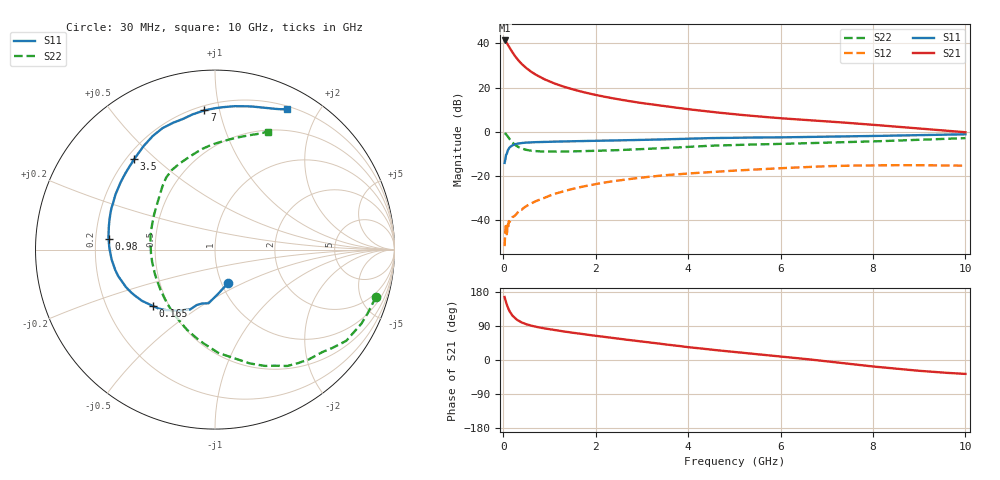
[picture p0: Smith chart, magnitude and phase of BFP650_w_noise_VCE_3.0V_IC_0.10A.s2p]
! Infineon Technologies  Discrete & RF Semiconductors
! BFP650
! VCE =  3.0 V,  IC = 0.10 A
! Common Emitter S-Parameters:  Jan 2016
# GHz  S  MA  R  50
!  f  S11  S21  S12  S22
! GHz  MAG  ANG  MAG  ANG  MAG  ANG  MAG  ANG
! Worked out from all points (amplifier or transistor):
!   229 points, 30 MHz to 10 GHz, reference 50 ohm
!   highest |S21| = 41.3 dB at 30 MHz (marker M1)
!   |S21| within 3 dB of that: start of sweep to 130.6 MHz
!   unconditionally stable (mu >= 1): 1.286 GHz to end of sweep
!   at 280 MHz: K = 0.65, MSG = 35.4 dB, |S12| = -37.3 dB
!   at 1.78 GHz: K = 1.02, MAG = 20.2 dB, |S12| = -24.5 dB
!   at 10 GHz: K = 1.03, MAG = 6.6 dB, |S12| = -15.3 dB
!   lowest NFmin = 1.42 dB at 450 MHz
!   S11 on the Smith chart (normalised r, x): 30 MHz: 1.08, -0.41; 165 MHz: 0.41, -0.33; 980 MHz: 0.25, +0.05; 3.5 GHz: 0.23, +0.43; 7 GHz: 0.23, +0.90; 10 GHz: 0.23, +1.61
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0.03  0.1985 -67.8  116.3 166.2  0.0026 46.1  0.9347 -16.4
0.04  0.2239 -79.3  114.9 161.4  0.0041 64.2  0.9213 -22.9
0.05  0.2456 -85.6  111 156.8  0.0072 102.9  0.9139 -26.9
0.06  0.3013 -96.9  109.1 152.9  0.0083 64.5  0.8905 -34.8
0.08  0.3254 -108.3  101.5 145.2  0.0044 63.1  0.8271 -43.6
0.11  0.3987 -121.3  90.04 135.5  0.0068 65.4  0.7631 -58.2
0.135  0.4383 -130.0  80.9 129.2  0.0091 65.0  0.6946 -68.2
0.165  0.4663 -137.5  71.81 123.7  0.0103 59.1  0.6322 -77.2
0.2  0.4966 -144.8  62.5 117.0  0.0118 54.9  0.5762 -88.1
0.26  0.5248 -153.0  50.8 109.8  0.013 59.3  0.5053 -101.5
0.3  0.5385 -157.2  44.7 105.9  0.0144 59.8  0.4728 -109.3
0.4  0.5595 -164.9  34.22 99.1  0.0174 60.5  0.4199 -124.4
0.6  0.5787 -174.5  22.99 90.7  0.0239 63.0  0.3756 -144.6
0.98  0.5959 174.4  14.05 81.6  0.0351 62.7  0.357 -167.0
1.7  0.6182 159.8  8.056 68.8  0.0573 57.0  0.3647 170.0
3.4  0.6715 133.1  3.917 42.9  0.102 38.7  0.4237 137.7
3.5  0.6762 131.7  3.785 41.2  0.1045 37.7  0.4291 136.3
5.1  0.7382 112.3  2.443 20.0  0.1343 21.0  0.507 117.2
6.8  0.7713 96.4  1.782 -0.7  0.1637 3.6  0.5593 98.7
7  0.7779 94.4  1.727 -3.5  0.167 1.5  0.5662 97.0
8.4  0.819 77.1  1.335 -21.9  0.176 -14.1  0.6277 80.6
10  0.8795 62.8  0.979 -36.7  0.1717 -27.0  0.7203 65.9
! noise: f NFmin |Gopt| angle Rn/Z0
0.45  1.42  0.56  -171  0.06
0.9  1.44  0.58  -164  0.06
1.9  1.59  0.59  -150  0.09
2.4  1.69  0.57  -141  0.13
3.5  1.87  0.58  -118  0.25
